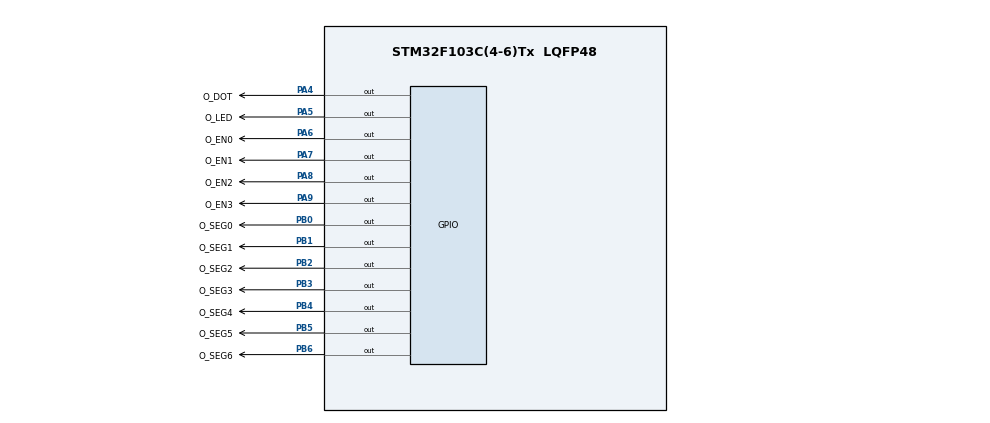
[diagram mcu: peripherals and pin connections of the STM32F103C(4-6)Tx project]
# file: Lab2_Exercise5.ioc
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Mcu.Family=STM32F1
Mcu.Name=STM32F103C(4-6)Tx
Mcu.Package=LQFP48
NVIC.PriorityGroup=NVIC_PRIORITYGROUP_4
NVIC.TIM2_IRQn=true\:0\:0\:false\:false\:true\:true\:true\:true
PA4.GPIO_Label=O_DOT
PA4.Signal=GPIO_Output
PA5.GPIO_Label=O_LED
PA5.Signal=GPIO_Output
PA6.GPIO_Label=O_EN0
PA6.Signal=GPIO_Output
PA7.GPIO_Label=O_EN1
PA7.Signal=GPIO_Output
PA8.GPIO_Label=O_EN2
PA8.Signal=GPIO_Output
PA9.GPIO_Label=O_EN3
PA9.Signal=GPIO_Output
PB0.GPIO_Label=O_SEG0
PB0.Signal=GPIO_Output
PB1.GPIO_Label=O_SEG1
PB1.Signal=GPIO_Output
PB2.GPIO_Label=O_SEG2
PB2.Signal=GPIO_Output
PB3.GPIO_Label=O_SEG3
PB3.Signal=GPIO_Output
PB4.GPIO_Label=O_SEG4
PB4.Signal=GPIO_Output
PB5.GPIO_Label=O_SEG5
PB5.Signal=GPIO_Output
PB6.GPIO_Label=O_SEG6
PB6.Signal=GPIO_Output
ProjectManager.HeapSize=0x200
ProjectManager.StackSize=0x400
ProjectManager.TargetToolchain=STM32CubeIDE
RCC.APB1Freq_Value=8000000
RCC.APB2Freq_Value=8000000
TIM2.Period=9
TIM2.Prescaler=7999
VP_TIM2_VS_ClockSourceINT.Mode=Internal
board=custom

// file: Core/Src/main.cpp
/* USER CODE BEGIN Header */
/**
 ******************************************************************************
 * @file           : main.c
 * @brief          : Main program body
 ******************************************************************************
 * @attention
 *
 * Copyright (c) 2022 STMicroelectronics.
 * All rights reserved.
 *
 * This software is licensed under terms that can be found in the LICENSE file
 * in the root directory of this software component.
 * If no LICENSE file comes with this software, it is provided AS-IS.
 *
 ******************************************************************************
 */
/* USER CODE END Header */
#include <lab_three_service.h>
#include "main.h"

#include "timer.h"
#include "pin_pair.h"
#include "segment_led.h"
#include "service.h"
#include "states.h"
#include "seperator_led_service.h"
#include "clock_service.h"

TIM_HandleTypeDef htim2;

void SystemClock_Config(void);
static void MX_GPIO_Init(void);
static void MX_TIM2_Init(void);

void HAL_TIM_PeriodElapsedCallback(TIM_HandleTypeDef *htim);

/* USER CODE BEGIN 0 */
Timer *timer = new Timer();
Timer *secondaryTimer = new Timer();
Timer *clockTimer = new Timer();

/* USER CODE END 0 */

int main(void) {

	/* MCU Configuration--------------------------------------------------------*/

	/* Reset of all peripherals, Initializes the Flash interface and the Systick. */
	HAL_Init();

	/* Configure the system clock */
	SystemClock_Config();

	/* USER CODE BEGIN SysInit */
	PinPair *seperator = new PinPair(O_DOT_GPIO_Port, O_DOT_Pin);

	PinPair *hourLeftSignal = new PinPair(O_EN0_GPIO_Port, O_EN0_Pin);
	PinPair *hourRightSignal = new PinPair(O_EN1_GPIO_Port, O_EN1_Pin);
	PinPair *minuteLeftSignal = new PinPair(O_EN2_GPIO_Port, O_EN2_Pin);
	PinPair *minuteRightSignal = new PinPair(O_EN3_GPIO_Port, O_EN3_Pin);

	PinPair *led0 = new PinPair(O_SEG0_GPIO_Port, O_SEG0_Pin);
	PinPair *led1 = new PinPair(O_SEG1_GPIO_Port, O_SEG1_Pin);
	PinPair *led2 = new PinPair(O_SEG2_GPIO_Port, O_SEG2_Pin);
	PinPair *led3 = new PinPair(O_SEG3_GPIO_Port, O_SEG3_Pin);
	PinPair *led4 = new PinPair(O_SEG4_GPIO_Port, O_SEG4_Pin);
	PinPair *led5 = new PinPair(O_SEG5_GPIO_Port, O_SEG5_Pin);
	PinPair *led6 = new PinPair(O_SEG6_GPIO_Port, O_SEG6_Pin);
	/* USER CODE END SysInit */

	/* Initialize all configured peripherals */
	MX_GPIO_Init();
	MX_TIM2_Init();
	/* USER CODE BEGIN 2 */

	HAL_TIM_Base_Start_IT(&htim2);

	SegmentLed *hourLeft = new SegmentLed(hourLeftSignal, led0, led1, led2,
			led3, led4, led5, led6);
	SegmentLed *hourRight = new SegmentLed(hourRightSignal, led0, led1, led2,
			led3, led4, led5, led6);
	SegmentLed *minuteLeft = new SegmentLed(minuteLeftSignal, led0, led1, led2,
			led3, led4, led5, led6);
	SegmentLed *minuteRight = new SegmentLed(minuteRightSignal, led0, led1,
			led2, led3, led4, led5, led6);

	LabThreeService *service = new LabThreeService(timer, hourLeft, hourRight,
			minuteLeft, minuteRight);

	SeperatorLedService *seperatorService = new SeperatorLedService(
			secondaryTimer, seperator);

	ClockService *clockService = new ClockService(clockTimer);

	/* USER CODE END 2 */

	/* Infinite loop */
	/* USER CODE BEGIN WHILE */
	int status = INIT;

	int seperatorStatus = INIT;

	int clockStatus = INIT;
	int clock = 0;

	int led_buffer[4] = { 1, 9, 5, 5 };

	while (1) {
		/* USER CODE END WHILE */
		clockService->run(clockStatus, clock, led_buffer);

		service->run(status, led_buffer);

		seperatorService->run(seperatorStatus);
	}
}

void HAL_TIM_PeriodElapsedCallback(TIM_HandleTypeDef *htim) {
	clockTimer->run();
	timer->run();
	secondaryTimer->run();
}

void SystemClock_Config(void) {
	RCC_OscInitTypeDef RCC_OscInitStruct = { 0 };
	RCC_ClkInitTypeDef RCC_ClkInitStruct = { 0 };

	/** Initializes the RCC Oscillators according to the specified parameters
	 * in the RCC_OscInitTypeDef structure.
	 */
	RCC_OscInitStruct.OscillatorType = RCC_OSCILLATORTYPE_HSI;
	RCC_OscInitStruct.HSIState = RCC_HSI_ON;
	RCC_OscInitStruct.HSICalibrationValue = RCC_HSICALIBRATION_DEFAULT;
	RCC_OscInitStruct.PLL.PLLState = RCC_PLL_NONE;
	if (HAL_RCC_OscConfig(&RCC_OscInitStruct) != HAL_OK) {
		Error_Handler();
	}

	/** Initializes the CPU, AHB and APB buses clocks
	 */
	RCC_ClkInitStruct.ClockType = RCC_CLOCKTYPE_HCLK | RCC_CLOCKTYPE_SYSCLK
			| RCC_CLOCKTYPE_PCLK1 | RCC_CLOCKTYPE_PCLK2;
	RCC_ClkInitStruct.SYSCLKSource = RCC_SYSCLKSOURCE_HSI;
	RCC_ClkInitStruct.AHBCLKDivider = RCC_SYSCLK_DIV1;
	RCC_ClkInitStruct.APB1CLKDivider = RCC_HCLK_DIV1;
	RCC_ClkInitStruct.APB2CLKDivider = RCC_HCLK_DIV1;

	if (HAL_RCC_ClockConfig(&RCC_ClkInitStruct, FLASH_LATENCY_0) != HAL_OK) {
		Error_Handler();
	}
}

static void MX_TIM2_Init(void) {

	TIM_ClockConfigTypeDef sClockSourceConfig = { 0 };
	TIM_MasterConfigTypeDef sMasterConfig = { 0 };

	htim2.Instance = TIM2;
	htim2.Init.Prescaler = 7999;
	htim2.Init.CounterMode = TIM_COUNTERMODE_UP;
	htim2.Init.Period = 9;
	htim2.Init.ClockDivision = TIM_CLOCKDIVISION_DIV1;
	htim2.Init.AutoReloadPreload = TIM_AUTORELOAD_PRELOAD_DISABLE;
	if (HAL_TIM_Base_Init(&htim2) != HAL_OK) {
		Error_Handler();
	}
	sClockSourceConfig.ClockSource = TIM_CLOCKSOURCE_INTERNAL;
	if (HAL_TIM_ConfigClockSource(&htim2, &sClockSourceConfig) != HAL_OK) {
		Error_Handler();
	}
	sMasterConfig.MasterOutputTrigger = TIM_TRGO_RESET;
	sMasterConfig.MasterSlaveMode = TIM_MASTERSLAVEMODE_DISABLE;
	if (HAL_TIMEx_MasterConfigSynchronization(&htim2, &sMasterConfig)
			!= HAL_OK) {
		Error_Handler();
	}

}

static void MX_GPIO_Init(void) {
	GPIO_InitTypeDef GPIO_InitStruct = { 0 };

	/* GPIO Ports Clock Enable */
	__HAL_RCC_GPIOA_CLK_ENABLE();
	__HAL_RCC_GPIOB_CLK_ENABLE();

	/*Configure GPIO pin Output Level */
	HAL_GPIO_WritePin(GPIOA,
	O_DOT_Pin | O_LED_Pin | O_EN0_Pin | O_EN1_Pin | O_EN2_Pin | O_EN3_Pin,
			GPIO_PIN_RESET);

	/*Configure GPIO pin Output Level */
	HAL_GPIO_WritePin(GPIOB,
			O_SEG0_Pin | O_SEG1_Pin | O_SEG2_Pin | O_SEG3_Pin | O_SEG4_Pin
					| O_SEG5_Pin | O_SEG6_Pin, GPIO_PIN_RESET);

	/*Configure GPIO pins : O_DOT_Pin O_LED_Pin O_EN0_Pin O_EN1_Pin
	 O_EN2_Pin O_EN3_Pin */
	GPIO_InitStruct.Pin = O_DOT_Pin | O_LED_Pin | O_EN0_Pin | O_EN1_Pin
			| O_EN2_Pin | O_EN3_Pin;
	GPIO_InitStruct.Mode = GPIO_MODE_OUTPUT_PP;
	GPIO_InitStruct.Pull = GPIO_NOPULL;
	GPIO_InitStruct.Speed = GPIO_SPEED_FREQ_LOW;
	HAL_GPIO_Init(GPIOA, &GPIO_InitStruct);

	/*Configure GPIO pins : O_SEG0_Pin O_SEG1_Pin O_SEG2_Pin O_SEG3_Pin
	 O_SEG4_Pin O_SEG5_Pin O_SEG6_Pin */
	GPIO_InitStruct.Pin = O_SEG0_Pin | O_SEG1_Pin | O_SEG2_Pin | O_SEG3_Pin
			| O_SEG4_Pin | O_SEG5_Pin | O_SEG6_Pin;
	GPIO_InitStruct.Mode = GPIO_MODE_OUTPUT_PP;
	GPIO_InitStruct.Pull = GPIO_NOPULL;
	GPIO_InitStruct.Speed = GPIO_SPEED_FREQ_LOW;
	HAL_GPIO_Init(GPIOB, &GPIO_InitStruct);

}

void Error_Handler(void) {
	__disable_irq();
	while (1) {
	}
}
